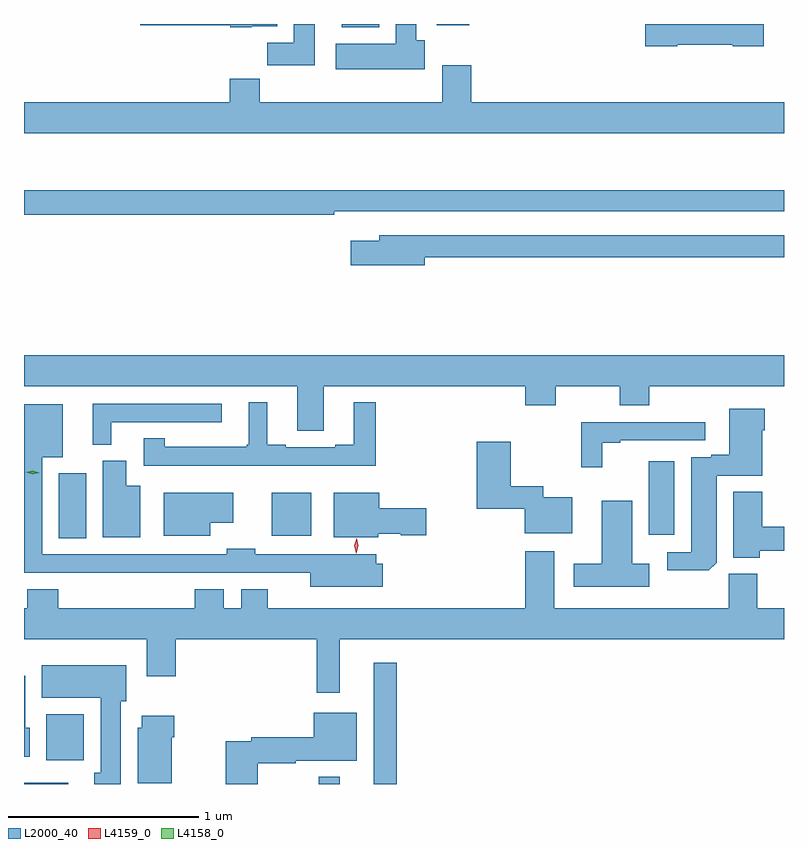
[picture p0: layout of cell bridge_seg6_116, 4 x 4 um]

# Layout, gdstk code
import gdstk
lib = gdstk.Library(unit=1e-6, precision=1e-09)
def R(c, l, rs):  # rectangles x0, y0, x1, y1
    for r in rs: c.add(gdstk.rectangle(r[:2], r[2:], *l))
def P(c, l, *ps):  # polygons
    for p in ps: c.add(gdstk.Polygon(p, *l))
L2000_40 = (2000, 40)
L4158_0 = (4158, 0)
L4159_0 = (4159, 0)

bridge_seg6_116 = lib.new_cell('bridge_seg6_116')
R(bridge_seg6_116, L2000_40, [(397.381,965.223,397.615,965.23), (398.932,965.223,399.043,965.26), (399.221,965.223,399.343,965.86), (397.499,965.348,397.696,965.59), (397.565,966.517,397.708,966.859), (398.684,966.53,398.893,966.757), (400.67,966.534,400.804,966.922), (399.053,969.206,399.25,969.223), (399.554,969.216,399.725,969.223)])
P(bridge_seg6_116, L2000_40, [(399.49,969.138),(399.445,969.138),(399.445,969.223),(399.338,969.223),(399.338,969.118),(399.021,969.118),(399.021,968.984),(399.49,968.984)],
  [(398.911,969.223),(398.801,969.223),(398.801,969.124),(398.662,969.124),(398.662,969.006),(398.911,969.006)],
  [(400.818,969.114),(401.112,969.114),(401.112,969.106),(401.274,969.106),(401.274,969.223),(400.652,969.223),(400.652,969.106),(400.818,969.106)],
  [(398.58,969.212),(398.713,969.212),(398.713,969.223),(397.992,969.223),(397.992,969.217),(398.466,969.217),(398.466,969.206),(398.58,969.206)],
  [(401.381,968.812),(399.734,968.812),(399.734,969.007),(399.581,969.007),(399.581,968.812),(398.621,968.812),(398.621,968.936),(398.465,968.936),(398.465,968.812),(397.381,968.812),(397.381,968.648),(401.381,968.648)],
  [(399.014,968.238),(401.381,968.238),(401.381,968.347),(397.381,968.347),(397.381,968.218),(399.014,968.218)],
  [(399.49,967.996),(401.381,967.996),(401.381,968.112),(399.251,968.112),(399.251,968.083),(399.102,968.083),(399.102,967.954),(399.49,967.954)],
  [(398.959,967.316),(400.019,967.316),(400.019,967.217),(400.179,967.217),(400.179,967.316),(400.516,967.316),(400.516,967.217),(400.671,967.217),(400.671,967.316),(401.381,967.316),(401.381,967.48),(397.381,967.48),(397.381,967.316),(398.819,967.316),(398.819,967.081),(398.959,967.081)],
  [(399.233,967.231),(399.116,967.231),(399.116,967.009),(399.02,967.009),(399.02,966.996),(398.758,966.996),(398.758,967.009),(398.662,967.009),(398.662,967.231),(398.564,967.231),(398.564,967.009),(398.553,967.009),(398.553,966.997),(398.123,966.997),(398.123,967.043),(398.01,967.043),(398.01,966.899),(399.233,966.899)],
  [(397.84,967.128),(398.422,967.128),(398.422,967.224),(397.742,967.224),(397.742,967.009),(397.84,967.009)],
  [(399.268,966.382),(399.235,966.382),(399.235,966.433),(399.015,966.433),(399.015,966.432),(398.598,966.432),(398.598,966.46),(398.448,966.46),(398.448,966.432),(397.476,966.432),(397.476,966.944),(397.585,966.944),(397.585,967.222),(397.381,967.222),(397.381,966.336),(397.645,966.336),(397.645,966.335),(398.195,966.335),(398.195,966.336),(398.888,966.336),(398.888,966.26),(399.268,966.26)],
  [(401.026,966.388),(401.026,966.846),(401.266,966.846),(401.266,967.085),(401.279,967.085),(401.279,967.198),(401.093,967.198),(401.093,966.955),(400.997,966.955),(400.997,966.942),(400.892,966.942),(400.892,966.444),(400.767,966.444),(400.767,966.347),(400.985,966.347)],
  [(400.425,967.02),(400.519,967.02),(400.519,967.032),(400.966,967.032),(400.966,967.128),(400.314,967.128),(400.314,966.891),(400.425,966.891)],
  [(400.267,966.733),(400.113,966.733),(400.113,966.789),(399.942,966.789),(399.942,967.024),(399.764,967.024),(399.764,966.671),(400.017,966.671),(400.017,966.542),(400.267,966.542)],
  [(397.993,966.793),(397.918,966.793),(397.918,966.924),(397.796,966.924),(397.796,966.521),(397.993,966.521)],
  [(401.254,966.45),(401.381,966.45),(401.381,966.578),(401.267,966.578),(401.267,966.761),(401.114,966.761),(401.114,966.415),(401.254,966.415)],
  [(399.246,966.539),(399.364,966.539),(399.364,966.532),(399.499,966.532),(399.499,966.674),(399.25,966.674),(399.25,966.757),(399.011,966.757),(399.011,966.521),(399.246,966.521)],
  [(398.362,966.599),(398.482,966.599),(398.482,966.757),(398.117,966.757),(398.117,966.53),(398.362,966.53)],
  [(400.672,966.382),(400.582,966.382),(400.582,966.715),(400.421,966.715),(400.421,966.382),(400.275,966.382),(400.275,966.26),(400.672,966.26)],
  [(399.043,965.984),(401.381,965.984),(401.381,966.148),(401.24,966.148),(401.24,966.33),(401.089,966.33),(401.089,966.148),(400.171,966.148),(400.171,966.448),(400.019,966.448),(400.019,966.148),(398.665,966.148),(398.665,966.247),(398.525,966.247),(398.525,966.148),(398.431,966.148),(398.431,966.247),(398.279,966.247),(398.279,966.148),(397.562,966.148),(397.562,966.247),(397.397,966.247),(397.397,966.148),(397.381,966.148),(397.381,965.984),(398.027,965.984),(398.027,965.79),(398.18,965.79),(398.18,965.984),(398.922,965.984),(398.922,965.703),(399.043,965.703)],
  [(397.891,965.658),(397.918,965.658),(397.918,965.848),(397.475,965.848),(397.475,965.678),(397.784,965.678),(397.784,965.282),(397.751,965.282),(397.751,965.223),(397.891,965.223)],
  [(397.411,965.52),(397.387,965.52),(397.387,965.794),(397.381,965.794),(397.381,965.366),(397.411,965.366)],
  [(398.61,965.332),(398.81,965.332),(398.81,965.345),(399.133,965.345),(399.133,965.599),(398.906,965.599),(398.906,965.468),(398.578,965.468),(398.578,965.448),(398.444,965.448),(398.444,965.223),(398.61,965.223)],
  [(398.158,965.468),(398.171,965.468),(398.171,965.581),(398,965.581),(398,965.52),(397.979,965.52),(397.979,965.228),(398.158,965.228)])
P(bridge_seg6_116, L4158_0, [(397.426,966.853),(397.391,966.863),(397.39,966.864),(397.391,966.864),(397.427,966.873),(397.462,966.862),(397.462,966.862),(397.462,966.862)])
P(bridge_seg6_116, L4159_0, [(399.129,966.437),(399.129,966.437),(399.12,966.477),(399.132,966.516),(399.132,966.517),(399.132,966.516),(399.14,966.476),(399.129,966.437)])

lib.write_gds('bridge_seg6_116.gds')
